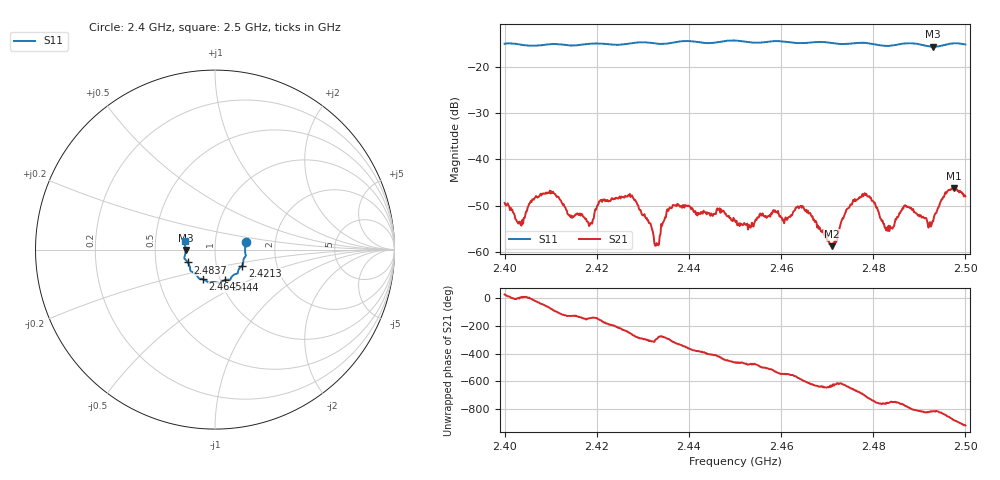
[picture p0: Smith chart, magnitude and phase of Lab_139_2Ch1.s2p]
# Hz S RI R 50
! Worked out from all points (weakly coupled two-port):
!   601 points, 2.4 GHz to 2.5 GHz, reference 50 ohm
!   highest |S21| = -46.22 dB at 2.4975 GHz (marker M1); lowest = -58.7 dB at 2.471 GHz (marker M2)
!   lowest |S11| = -15.7 dB at 2.493 GHz (marker M3), VSWR 1.39, Z = 35.9 - j0.22 ohm
!   |S11| at or under -10 dB: start of sweep to end of sweep
!   S12 and S22 are empty: the file has one direction only
!   S11 on the Smith chart (normalised r, x): 2.4 GHz: 1.41, +0.12; 2.4213 GHz: 1.33, -0.25; 2.444 GHz: 1.06, -0.37; 2.4645 GHz: 0.83, -0.29; 2.4837 GHz: 0.73, -0.11; 2.5 GHz: 0.71, +0.07
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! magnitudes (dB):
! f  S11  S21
! 2.4 GHz  -15.1  -49.4
! 2.4035 GHz  -15.3  -54.1
! 2.4062 GHz  -15.5  -48.6
! 2.4103 GHz  -15.2  -47.2
! 2.4167 GHz  -15.3  -51.7
! 2.4188 GHz  -15.1  -53.6
! 2.4213 GHz  -15.1  -48.7
! 2.4275 GHz  -15.0  -47.8
! 2.4333 GHz  -15.1  -58.5
! 2.4363 GHz  -14.9  -50.4
! 2.444 GHz  -15.0  -51.4
! 2.45 GHz  -14.4  -53.3
! 2.4645 GHz  -15.0  -50.4
! 2.4667 GHz  -14.8  -52.3
! 2.471 GHz  -14.9  -58.7
! 2.478 GHz  -14.9  -47.5
! 2.4833 GHz  -15.6  -54.3
! 2.4837 GHz  -15.5  -54.4
! 2.4872 GHz  -15.0  -50.2
! 2.493 GHz  -15.7  -53.4
! 2.4975 GHz  -15.0  -46.2
! 2.5 GHz  -15.3  -48.0
